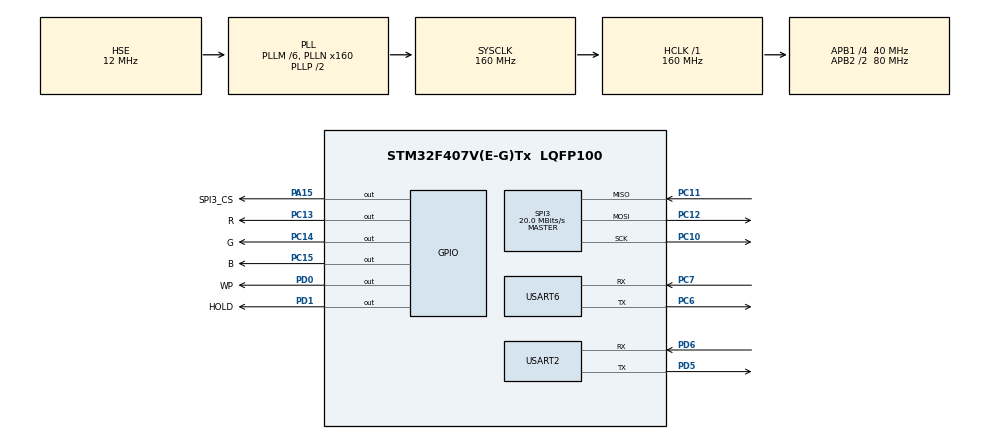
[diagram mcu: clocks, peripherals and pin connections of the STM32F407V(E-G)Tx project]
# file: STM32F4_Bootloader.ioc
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Dma.Request0=USART2_TX
Dma.Request1=USART2_RX
Dma.USART2_RX.1.Direction=DMA_PERIPH_TO_MEMORY
Dma.USART2_RX.1.FIFOMode=DMA_FIFOMODE_DISABLE
Dma.USART2_RX.1.Instance=DMA1_Stream5
Dma.USART2_RX.1.MemDataAlignment=DMA_MDATAALIGN_BYTE
Dma.USART2_RX.1.MemInc=DMA_MINC_ENABLE
Dma.USART2_RX.1.Mode=DMA_CIRCULAR
Dma.USART2_RX.1.PeriphDataAlignment=DMA_PDATAALIGN_BYTE
Dma.USART2_RX.1.PeriphInc=DMA_PINC_DISABLE
Dma.USART2_RX.1.Priority=DMA_PRIORITY_LOW
Dma.USART2_TX.0.Direction=DMA_MEMORY_TO_PERIPH
Dma.USART2_TX.0.FIFOMode=DMA_FIFOMODE_DISABLE
Dma.USART2_TX.0.Instance=DMA1_Stream6
Dma.USART2_TX.0.MemDataAlignment=DMA_MDATAALIGN_BYTE
Dma.USART2_TX.0.MemInc=DMA_MINC_ENABLE
Dma.USART2_TX.0.Mode=DMA_NORMAL
Dma.USART2_TX.0.PeriphDataAlignment=DMA_PDATAALIGN_BYTE
Dma.USART2_TX.0.PeriphInc=DMA_PINC_DISABLE
Dma.USART2_TX.0.Priority=DMA_PRIORITY_LOW
FREERTOS.Queues01=rxDataUART2,16,uint8_t,0,Dynamic,NULL,NULL
FREERTOS.Tasks01=mainTask,0,512,StartMainTask,Default,NULL,Dynamic,NULL,NULL;uartTask,0,512,UartTask,Default,NULL,Dynamic,NULL,NULL;ethTask,0,512,EthTask,Default,NULL,Dynamic,NULL,NULL;bootloaderTask,-3,512,BootloaderTask,Default,NULL,Dynamic,NULL,NULL
FREERTOS.configTOTAL_HEAP_SIZE=24576
FREERTOS.configUSE_NEWLIB_REENTRANT=1
Mcu.Family=STM32F4
Mcu.Name=STM32F407V(E-G)Tx
Mcu.Package=LQFP100
NVIC.DMA1_Stream5_IRQn=true\:5\:0\:false\:false\:true\:true\:false\:true\:true
NVIC.DMA1_Stream6_IRQn=true\:5\:0\:false\:false\:true\:true\:false\:true\:true
NVIC.PriorityGroup=NVIC_PRIORITYGROUP_4
NVIC.TIM8_TRG_COM_TIM14_IRQn=true\:15\:0\:false\:false\:true\:false\:false\:true\:true
NVIC.TimeBase=TIM8_TRG_COM_TIM14_IRQn
NVIC.TimeBaseIP=TIM14
NVIC.USART2_IRQn=true\:5\:0\:false\:false\:true\:true\:true\:true\:true
NVIC.USART6_IRQn=true\:5\:0\:false\:false\:true\:true\:true\:true\:true
PA13.Mode=Serial_Wire
PA13.Signal=SYS_JTMS-SWDIO
PA14.Mode=Serial_Wire
PA14.Signal=SYS_JTCK-SWCLK
PA15.GPIO_Label=SPI3_CS
PA15.Signal=GPIO_Output
PC10.Mode=Full_Duplex_Master
PC10.Signal=SPI3_SCK
PC11.Mode=Full_Duplex_Master
PC11.Signal=SPI3_MISO
PC12.Mode=Full_Duplex_Master
PC12.Signal=SPI3_MOSI
PC13-ANTI_TAMP.GPIO_Label=R
PC13-ANTI_TAMP.Signal=GPIO_Output
PC14-OSC32_IN.GPIO_Label=G
PC14-OSC32_IN.Signal=GPIO_Output
PC15-OSC32_OUT.GPIO_Label=B
PC15-OSC32_OUT.Signal=GPIO_Output
PC6.Mode=Asynchronous
PC6.Signal=USART6_TX
PC7.Mode=Asynchronous
PC7.Signal=USART6_RX
PD0.GPIO_Label=WP
PD0.Signal=GPIO_Output
PD1.GPIO_Label=HOLD
PD1.Signal=GPIO_Output
PD5.Mode=Asynchronous
PD5.Signal=USART2_TX
PD6.Mode=Asynchronous
PD6.Signal=USART2_RX
PH0-OSC_IN.Mode=HSE-External-Oscillator
PH0-OSC_IN.Signal=RCC_OSC_IN
PH1-OSC_OUT.Mode=HSE-External-Oscillator
PH1-OSC_OUT.Signal=RCC_OSC_OUT
ProjectManager.HeapSize=0x200
ProjectManager.StackSize=0x400
ProjectManager.TargetToolchain=STM32CubeIDE
RCC.48MHZClocksFreq_Value=80000000
RCC.AHBFreq_Value=160000000
RCC.APB1CLKDivider=RCC_HCLK_DIV4
RCC.APB1Freq_Value=40000000
RCC.APB1TimFreq_Value=80000000
RCC.APB2CLKDivider=RCC_HCLK_DIV2
RCC.APB2Freq_Value=80000000
RCC.APB2TimFreq_Value=160000000
RCC.CortexFreq_Value=160000000
RCC.HCLKFreq_Value=160000000
RCC.HSE_VALUE=12000000
RCC.HSI_VALUE=16000000
RCC.LSE_VALUE=32768
RCC.PLLM=6
RCC.PLLN=160
RCC.PLLSourceVirtual=RCC_PLLSOURCE_HSE
RCC.SYSCLKFreq_VALUE=160000000
RCC.SYSCLKSource=RCC_SYSCLKSOURCE_PLLCLK
RCC.VCOOutputFreq_Value=320000000
SPI3.CalculateBaudRate=20.0 MBits/s
SPI3.Direction=SPI_DIRECTION_2LINES
SPI3.Mode=SPI_MODE_MASTER
SPI3.VirtualType=VM_MASTER
USART2.VirtualMode=VM_ASYNC
USART6.VirtualMode=VM_ASYNC
VP_FREERTOS_VS_CMSIS_V1.Mode=CMSIS_V1
VP_SYS_VS_tim14.Mode=TIM14
board=custom

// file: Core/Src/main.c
/* USER CODE BEGIN Header */
/**
 ******************************************************************************
 * @file           : main.c
 * @brief          : Main program body
 ******************************************************************************
 * @attention
 *
 * Copyright (c) 2025 STMicroelectronics.
 * All rights reserved.
 *
 * This software is licensed under terms that can be found in the LICENSE file
 * in the root directory of this software component.
 * If no LICENSE file comes with this software, it is provided AS-IS.
 *
 ******************************************************************************
 */
/* USER CODE END Header */
#include "main.h"
#include "cmsis_os.h"
#include "dma.h"
#include "spi.h"
#include "usart.h"
#include "gpio.h"

/* USER CODE BEGIN PV */
// Boot mode and state variables
W25QXX_Device_t w25qxx_dev;  // Устройство SPI Flash
/* USER CODE END PV */

void SystemClock_Config(void);
void MX_FREERTOS_Init(void);

int main(void)
{

  /* USER CODE BEGIN 1 */

	/* Сверхранний вызов Bootloader_Init() - ДО HAL_Init()/тактирования/периферии.
	 * Если обновление не требуется и приложение валидно, отсюда происходит
	 * прямой Bootloader_JumpToApplication() - периферия/такты/TIM14(тик HAL)
	 * к этому моменту вообще не тронуты, поэтому приложение стартует так же
	 * чисто, как после аппаратного Reset. Логирование в этой функции не
	 * сработает (UART ещё не настроен) - это нормально для "чистого" пути;
	 * для веток с обновлением/восстановлением лог полноценно работает позже,
	 * в Bootloader_ProcessState(), которая выполняется уже после HAL_Init() */
	Bootloader_Init();

  /* USER CODE END 1 */

  /* MCU Configuration--------------------------------------------------------*/

  /* Reset of all peripherals, Initializes the Flash interface and the Systick. */
  HAL_Init();

  /* Configure the system clock */
  SystemClock_Config();

  /* Initialize all configured peripherals */
  MX_GPIO_Init();
  MX_DMA_Init();
  MX_USART2_UART_Init();
  MX_SPI3_Init();
  MX_USART6_UART_Init();
  /* USER CODE BEGIN 2 */

	// Чтение настроек
	//W25QXX_ReadSettings(&w25qxx_dev, &settings);
  /* USER CODE END 2 */

  /* Call init function for freertos objects (in cmsis_os2.c) */
  MX_FREERTOS_Init();

  /* Start scheduler */
  osKernelStart();

  /* We should never get here as control is now taken by the scheduler */

  /* Infinite loop */
	while (1) {

	}
}

void SystemClock_Config(void)
{
  RCC_OscInitTypeDef RCC_OscInitStruct = {0};
  RCC_ClkInitTypeDef RCC_ClkInitStruct = {0};

  /** Configure the main internal regulator output voltage
  */
  __HAL_RCC_PWR_CLK_ENABLE();
  __HAL_PWR_VOLTAGESCALING_CONFIG(PWR_REGULATOR_VOLTAGE_SCALE1);

  /** Initializes the RCC Oscillators according to the specified parameters
  * in the RCC_OscInitTypeDef structure.
  */
  RCC_OscInitStruct.OscillatorType = RCC_OSCILLATORTYPE_HSE;
  RCC_OscInitStruct.HSEState = RCC_HSE_ON;
  RCC_OscInitStruct.PLL.PLLState = RCC_PLL_ON;
  RCC_OscInitStruct.PLL.PLLSource = RCC_PLLSOURCE_HSE;
  RCC_OscInitStruct.PLL.PLLM = 6;
  RCC_OscInitStruct.PLL.PLLN = 160;
  RCC_OscInitStruct.PLL.PLLP = RCC_PLLP_DIV2;
  RCC_OscInitStruct.PLL.PLLQ = 4;
  if (HAL_RCC_OscConfig(&RCC_OscInitStruct) != HAL_OK)
  {
    Error_Handler();
  }

  /** Initializes the CPU, AHB and APB buses clocks
  */
  RCC_ClkInitStruct.ClockType = RCC_CLOCKTYPE_HCLK|RCC_CLOCKTYPE_SYSCLK
                              |RCC_CLOCKTYPE_PCLK1|RCC_CLOCKTYPE_PCLK2;
  RCC_ClkInitStruct.SYSCLKSource = RCC_SYSCLKSOURCE_PLLCLK;
  RCC_ClkInitStruct.AHBCLKDivider = RCC_SYSCLK_DIV1;
  RCC_ClkInitStruct.APB1CLKDivider = RCC_HCLK_DIV4;
  RCC_ClkInitStruct.APB2CLKDivider = RCC_HCLK_DIV2;

  if (HAL_RCC_ClockConfig(&RCC_ClkInitStruct, FLASH_LATENCY_5) != HAL_OK)
  {
    Error_Handler();
  }
}

void HAL_TIM_PeriodElapsedCallback(TIM_HandleTypeDef *htim)
{
  if (htim->Instance == TIM14) {
    HAL_IncTick();
  }
}

void Error_Handler(void)
{
	__disable_irq();
	while (1) {
	}
}

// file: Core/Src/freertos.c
/* USER CODE BEGIN Header */
/**
  ******************************************************************************
  * File Name          : freertos.c
  * Description        : Code for freertos applications
  ******************************************************************************
  * @attention
  *
  * Copyright (c) 2025 STMicroelectronics.
  * All rights reserved.
  *
  * This software is licensed under terms that can be found in the LICENSE file
  * in the root directory of this software component.
  * If no LICENSE file comes with this software, it is provided AS-IS.
  *
  ******************************************************************************
  */
/* USER CODE END Header */

#include "FreeRTOS.h"
#include "task.h"
#include "main.h"
#include "cmsis_os.h"

/* USER CODE BEGIN Includes */
#include "bootloader.h"
/* USER CODE END Includes */

/* USER CODE BEGIN PD */
// Интервал проверки состояния загрузчика в мс
#define BOOTLOADER_CHECK_INTERVAL   1000
/* USER CODE END PD */

/* USER CODE BEGIN Variables */
extern boot_data_t BootloaderData;
static uint32_t lastErrorCode = 0;  // Для отслеживания изменений кода ошибки
/* USER CODE END Variables */
osThreadId mainTaskHandle;
osThreadId uartTaskHandle;
osThreadId ethTaskHandle;
osThreadId bootloaderTaskHandle;
osMessageQId rxDataUART2Handle;

/* USER CODE BEGIN FunctionPrototypes */
static uint8_t InitSpiFlash(void);
/* USER CODE END FunctionPrototypes */

void StartMainTask(void const * argument);
void UartTask(void const * argument);
void EthTask(void const * argument);
void BootloaderTask(void const * argument);

void MX_FREERTOS_Init(void); /* (MISRA C 2004 rule 8.1) */

/* GetIdleTaskMemory prototype (linked to static allocation support) */
void vApplicationGetIdleTaskMemory( StaticTask_t **ppxIdleTaskTCBBuffer, StackType_t **ppxIdleTaskStackBuffer, uint32_t *pulIdleTaskStackSize );

/* USER CODE BEGIN GET_IDLE_TASK_MEMORY */
static StaticTask_t xIdleTaskTCBBuffer;
static StackType_t xIdleStack[configMINIMAL_STACK_SIZE];

void vApplicationGetIdleTaskMemory( StaticTask_t **ppxIdleTaskTCBBuffer, StackType_t **ppxIdleTaskStackBuffer, uint32_t *pulIdleTaskStackSize )
{
  *ppxIdleTaskTCBBuffer = &xIdleTaskTCBBuffer;
  *ppxIdleTaskStackBuffer = &xIdleStack[0];
  *pulIdleTaskStackSize = configMINIMAL_STACK_SIZE;
  /* place for user code */
}
/* USER CODE END GET_IDLE_TASK_MEMORY */

void MX_FREERTOS_Init(void) {

  /* Create the queue(s) */
  /* definition and creation of rxDataUART2 */
  osMessageQDef(rxDataUART2, 16, uint8_t);
  rxDataUART2Handle = osMessageCreate(osMessageQ(rxDataUART2), NULL);

  /* Create the thread(s) */
  /* definition and creation of mainTask */
  osThreadDef(mainTask, StartMainTask, osPriorityNormal, 0, 512);
  mainTaskHandle = osThreadCreate(osThread(mainTask), NULL);

  /* definition and creation of uartTask */
  osThreadDef(uartTask, UartTask, osPriorityNormal, 0, 512);
  uartTaskHandle = osThreadCreate(osThread(uartTask), NULL);

  /* definition and creation of ethTask */
  osThreadDef(ethTask, EthTask, osPriorityNormal, 0, 512);
  ethTaskHandle = osThreadCreate(osThread(ethTask), NULL);

  /* definition and creation of bootloaderTask */
  osThreadDef(bootloaderTask, BootloaderTask, osPriorityIdle, 0, 512);
  bootloaderTaskHandle = osThreadCreate(osThread(bootloaderTask), NULL);

}

void StartMainTask(void const * argument)
{
  /* USER CODE BEGIN StartMainTask */
  /* Infinite loop */
  for(;;)
  {
    // Если загрузчик находится в состоянии ошибки, попытаемся сбросить систему
    if (BootloaderData.status.State == BOOTLOADER_STATE_ERROR) {
      // Проверяем, изменился ли код ошибки
      if (lastErrorCode != BootloaderData.status.ErrorCode) {
        lastErrorCode = BootloaderData.status.ErrorCode;

        // Индикация кода ошибки через LED (мигаем синим LED N раз, где N - код ошибки)
        for (uint8_t i = 0; i < lastErrorCode; i++) {
          HAL_GPIO_WritePin(B_GPIO_Port, B_Pin, GPIO_PIN_RESET);
          osDelay(200);
          HAL_GPIO_WritePin(B_GPIO_Port, B_Pin, GPIO_PIN_SET);
          osDelay(200);
        }
      }

      // Задержка перед сбросом - увеличена для обеспечения видимости индикации ошибки
      osDelay(10000);
      // Сброс системы только при критических ошибках
      if (lastErrorCode >= BOOTLOADER_ERROR_FLASH_INIT_FAILED) {
        NVIC_SystemReset();
      }
    }

    // Проверка состояния системы
    osDelay(BOOTLOADER_CHECK_INTERVAL);
  }
  /* USER CODE END StartMainTask */
}

void UartTask(void const * argument)
{
  /* USER CODE BEGIN UartTask */
  /* Infinite loop */
  for(;;)
  {
    osDelay(100);
  }
  /* USER CODE END UartTask */
}

void EthTask(void const * argument)
{
  /* USER CODE BEGIN EthTask */
  /* Infinite loop */
  for(;;)
  {
    // Обработка Ethernet для загрузчика
    osDelay(10);
  }
  /* USER CODE END EthTask */
}

void BootloaderTask(void const * argument)
{
  /* USER CODE BEGIN BootloaderTask */
  // Инициализация SPI Flash
  InitSpiFlash();
  // Краткая задержка перед началом работы, чтобы дать другим задачам инициализироваться
  osDelay(500);

  	  // если нет прошивок нигде то ждем прошивку через программатор
	if((BootloaderData.status.State == BOOTLOADER_STATE_ERROR)&&
			(BootloaderData.status.ErrorCode == BOOTLOADER_ERROR_RECOVERY_FAILED))
	{
		HAL_GPIO_WritePin(G_GPIO_Port, G_Pin, GPIO_PIN_SET);
		HAL_GPIO_WritePin(R_GPIO_Port, R_Pin, GPIO_PIN_SET);
		HAL_GPIO_WritePin(B_GPIO_Port, B_Pin, GPIO_PIN_SET);

		int out = 1;
		while(out)
		{
			HAL_GPIO_WritePin(R_GPIO_Port, R_Pin, GPIO_PIN_RESET);
			osDelay(300);
			HAL_GPIO_WritePin(R_GPIO_Port, R_Pin, GPIO_PIN_SET);
			osDelay(300);
		}
	}
  /* Infinite loop */
  for(;;)
  {
    // Вызываем функцию обработки состояния загрузчика
	Bootloader_ProcessState();

    // если все ок тут мы не должны быть
    osDelay(1000);
	NVIC_SystemReset();
  }
  /* USER CODE END BootloaderTask */
}

/* USER CODE BEGIN Application */
static uint8_t InitSpiFlash(void) {
    // Настройка пинов для SPI Flash
    pins_spi_t csPin = {SPI3_CS_GPIO_Port, SPI3_CS_Pin};
    pins_spi_t wpPin = {WP_GPIO_Port, WP_Pin};
    pins_spi_t holdPin = {HOLD_GPIO_Port, HOLD_Pin};

    // Инициализация устройства SPI Flash
    W25QXX_InitDevice(&w25qxx_dev);

    // Инициализация SPI Flash с настройками
    if (!W25QXX_Init(&w25qxx_dev, &hspi3, 0, csPin, wpPin, holdPin, 1)) {
        // Ошибка инициализации - индикация
        HAL_GPIO_WritePin(R_GPIO_Port, R_Pin, GPIO_PIN_RESET);
        HAL_Delay(1000);
        HAL_GPIO_WritePin(R_GPIO_Port, R_Pin, GPIO_PIN_SET);
        return 0;
    }

    // Успешная инициализация - короткий сигнал зеленым светодиодом
    HAL_GPIO_WritePin(G_GPIO_Port, G_Pin, GPIO_PIN_RESET);
    HAL_Delay(100);
    HAL_GPIO_WritePin(G_GPIO_Port, G_Pin, GPIO_PIN_SET);

    return 1;
}
/* USER CODE END Application */
